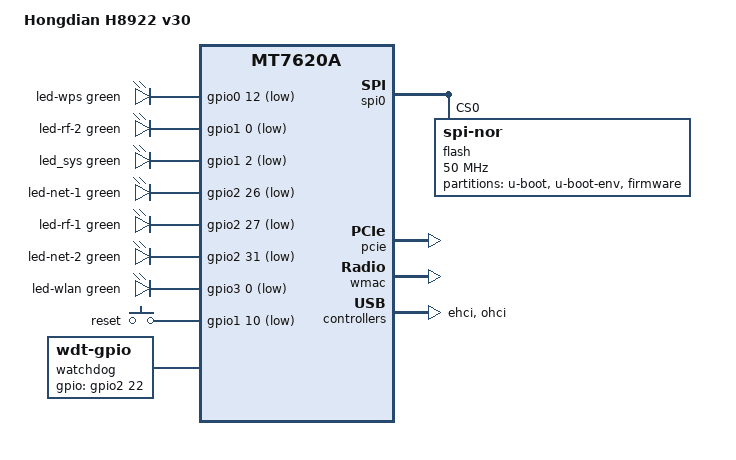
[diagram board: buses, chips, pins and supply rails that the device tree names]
// SPDX-License-Identifier: GPL-2.0-or-later OR MIT

#include "mt7620a.dtsi"

#include <dt-bindings/gpio/gpio.h>
#include <dt-bindings/input/input.h>
#include <dt-bindings/leds/common.h>

/ {
	compatible = "hongdian,h8922-v30", "ralink,mt7620a-soc";
	model = "Hongdian H8922 v30";

	aliases {
		led-boot = &led_sys;
		led-failsafe = &led_sys;
		led-running = &led_sys;
		led-upgrade = &led_sys;
	};

	chosen {
		bootargs = "console=ttyS0,115200";
	};

	leds {
		compatible = "gpio-leds";

		led-wps {
			gpios = <&gpio0 12 GPIO_ACTIVE_LOW>;
			color = <LED_COLOR_ID_GREEN>;
			function = LED_FUNCTION_WPS;
		};

		led-rf-2 {
			gpios = <&gpio1 0 GPIO_ACTIVE_LOW>;
			color = <LED_COLOR_ID_GREEN>;
			function = "rf";
			function-enumerator = <2>;
		};

		led_sys: led-sys {
			gpios = <&gpio1 2 GPIO_ACTIVE_LOW>;
			color = <LED_COLOR_ID_GREEN>;
			function = LED_FUNCTION_POWER;
			default-state = "on";
		};

		led-net-1 {
			gpios = <&gpio2 26 GPIO_ACTIVE_LOW>;
			color = <LED_COLOR_ID_GREEN>;
			function = LED_FUNCTION_MOBILE;
			function-enumerator = <1>;
		};

		led-rf-1 {
			gpios = <&gpio2 27 GPIO_ACTIVE_LOW>;
			color = <LED_COLOR_ID_GREEN>;
			function = "rf";
			function-enumerator = <1>;
		};

		led-net-2 {
			gpios = <&gpio2 31 GPIO_ACTIVE_LOW>;
			color = <LED_COLOR_ID_GREEN>;
			function = LED_FUNCTION_MOBILE;
			function-enumerator = <2>;
		};

		led-wlan {
			gpios = <&gpio3 0 GPIO_ACTIVE_LOW>;
			color = <LED_COLOR_ID_GREEN>;
			function = LED_FUNCTION_WLAN;
			linux,default-trigger = "phy0tpt";
		};
	};

	keys {
		compatible = "gpio-keys";

		reset {
			label = "reset";
			gpios = <&gpio1 10 GPIO_ACTIVE_LOW>;
			linux,code = <KEY_RESTART>;
		};
	};

	watchdog {
		compatible = "linux,wdt-gpio";

		gpios = <&gpio2 22 GPIO_ACTIVE_HIGH>;
		hw_algo = "toggle";
		hw_margin_ms = <600>;
		always-running;
	};
};

&watchdog {
	status = "disabled";
};

&gpio1 {
	status = "okay";
};

&gpio2 {
	status = "okay";
};

&gpio3 {
	status = "okay";
};

&spi0 {
	status = "okay";

	flash@0 {
		compatible = "jedec,spi-nor";
		reg = <0>;
		spi-max-frequency = <50000000>;

		partitions {
			compatible = "fixed-partitions";
			#address-cells = <1>;
			#size-cells = <1>;

			partition@0 {
				label = "u-boot";
				reg = <0x0 0x2f000>;
				read-only;
			};

			partition@2f000 {
				label = "u-boot-env";
				reg = <0x2f000 0x1000>;
				read-only;
			};

			partition@30000 {
				compatible = "denx,uimage";
				label = "firmware";
				reg = <0x30000 0xffd000>;
			};
		};
	};
};

&state_default {
	gpio {
		groups = "uartf", "wled", "rgmii1", "rgmii2";
		function = "gpio";
	};
};

&ethernet {
	pinctrl-names = "default";
	pinctrl-0 = <&ephy_pins>;

	mediatek,portmap = "llllw";
};

&pcie {
	status = "okay";
};

&wmac {
	ralink,eeprom-data = <0x20760501 0x000c4376 0x2058ffff 0xffffffff 0xffffffff 0xffffffff 0xffffffff 0xffffffff
			      0xffffffff 0xffffffff 0x000c4376 0x2077000c 0x43762066 0x220c0000 0xffffb701 0x5577a8aa
			      0x8c88ffff 0x0a000000 0x00000000 0x0000ffff 0xffff0a0a 0x0a0a0808 0x08080808 0x08080808
			      0x0e0e0e0e 0x0e0e0e0e 0x0e0e0e0e 0x0e0e80ff 0xffff80ff 0xffff0000 0xffffffff 0xffffffff
			      0xffffffff 0xffffffff 0xffffffff 0xffffffff 0xffffffff 0xffffffff 0xffffffff 0xffffffff
			      0xffffffff 0xffffffff 0xffffffff 0xffffffff 0xffffffff 0xffffffff 0xffffffff 0xffffffff
			      0xffffffff 0xffffffff 0xffffffff 0xffffffff 0x20ffffff 0xffffffff 0xffffffff 0xffff0606
			      0x06060402 0x06060400 0x06060400 0x07070400 0xffffffff 0xffffffff 0xffffffff 0xffffffff
			      0xffffffff 0xffffffff 0xffffffff 0xffffffff 0xffffffff 0xffffffff 0xffffffff 0xffffffff
			      0xffffffff 0xffffffff 0xffffffff 0xffffffff 0xffffffff 0xffffffff 0xffffffff 0xffffffff
			      0xffffffff 0xffffffff 0xffffffff 0xffffffff 0xffffffff 0xffffffff 0xffffffff 0xffffffff
			      0xffffffff 0xffffffff 0xffffffff 0xffffffff 0xffffffff 0xffffffff 0xffffffff 0xffffffff
			      0xffffffff 0xffffffff 0xffffffff 0xffffffff 0xffffffff 0xffffffff 0xffffffff 0xffffffff
			      0xffffffff 0xffffffff 0xffffffff 0xffffffff 0xffffffff 0xffffffff 0xffffffff 0xffffffff
			      0xffffffff 0xffffffff 0xffffffff 0xffffffff 0xffffffff 0xffffffff 0xffffffff 0xffffffff
			      0xffffffff 0xffffffff 0xffffffff 0xffffffff 0xffffffff 0xffffffff 0xffffffff 0xffffffff>;
};

&ehci {
	status = "okay";
};

&ohci {
	status = "okay";
};
